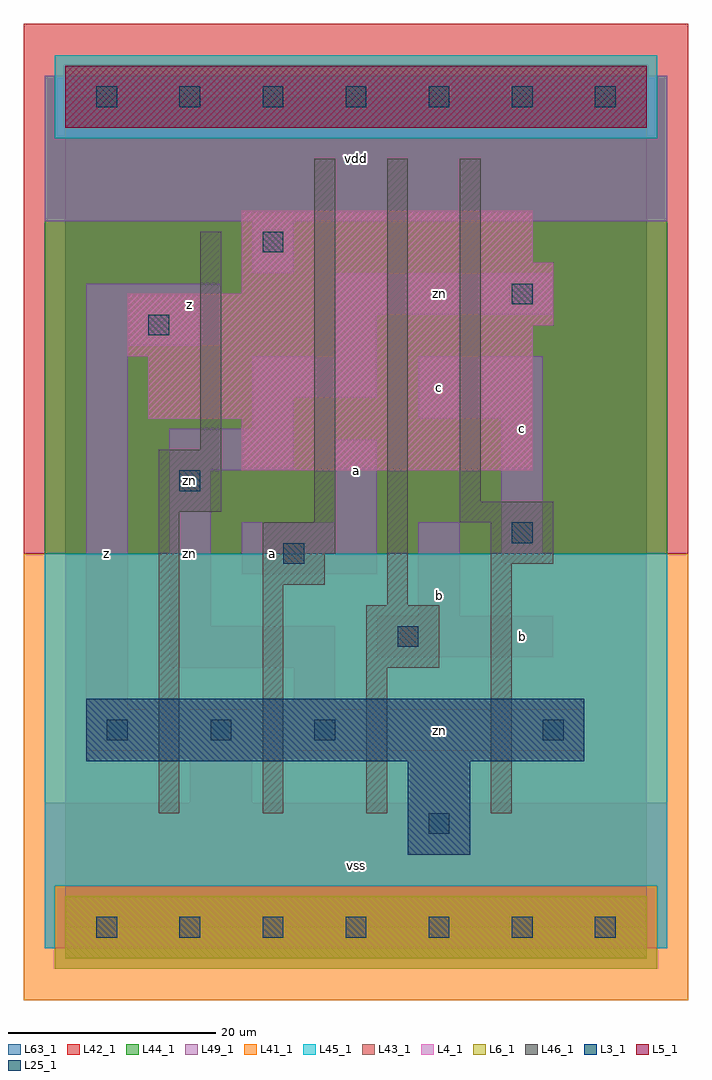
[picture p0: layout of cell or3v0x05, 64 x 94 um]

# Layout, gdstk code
import gdstk
lib = gdstk.Library(unit=1e-6, precision=1e-09)
def R(c, l, rs):  # rectangles x0, y0, x1, y1
    for r in rs: c.add(gdstk.rectangle(r[:2], r[2:], *l))
def A(c, l, x, y, w, h, nx, ny, dx, dy):  # array of equal rectangles
    R(c, l, [(x+i*dx, y+j*dy, x+i*dx+w, y+j*dy+h) for i in range(nx) for j in range(ny)])
L3_1 = (3, 1)
L4_1 = (4, 1)
L5_1 = (5, 1)
L6_1 = (6, 1)
L25_1 = (25, 1)
L41_1 = (41, 1)
L42_1 = (42, 1)
L43_1 = (43, 1)
L44_1 = (44, 1)
L45_1 = (45, 1)
L46_1 = (46, 1)
L49_1 = (49, 1)
L63_1 = (63, 1)

or3v0x05 = lib.new_cell('or3v0x05')
R(or3v0x05, L3_1, [(33,7,39,16), (2,16,50,22)])
R(or3v0x05, L4_1, [(17,44,45,49), (8,49,45,55), (6,55,45,58), (6,58,47,61), (17,61,47,64), (17,64,45,69)])
R(or3v0x05, L5_1, [(0,77,56,83)])
R(or3v0x05, L6_1, [(0,-3,56,3), (0,-3,56,3)])
A(or3v0x05, L25_1, 3, -1, 2, 2, 7, 2, 8, 80)
A(or3v0x05, L25_1, 4, 18, 2, 2, 3, 1, 10, 0)
R(or3v0x05, L25_1, [(35,9,37,11), (46,18,48,20), (32,27,34,29), (21,35,23,37), (43,37,45,39), (11,42,13,44), (8,57,10,59), (43,60,45,62), (19,65,21,67)])
R(or3v0x05, L41_1, [(-4,-7,60,36)])
R(or3v0x05, L42_1, [(-4,36,60,87)])
R(or3v0x05, L43_1, [(0,-3,56,3), (33,7,39,16), (2,16,50,22), (17,44,45,49), (8,49,45,55), (6,55,45,58), (6,58,47,61), (17,61,47,64), (17,64,45,69), (0,77,56,83)])
R(or3v0x05, L44_1, [(-1,-4,57,4), (-2,36,58,76), (-2,76,-1,82), (57,76,58,82)])
R(or3v0x05, L45_1, [(-2,-2,-1,4), (57,-2,58,4), (-2,4,58,36), (-1,76,57,84)])
R(or3v0x05, L46_1, [(9,11,11,40), (19,11,21,33), (29,11,31,25), (41,11,43,35), (29,25,36,31), (31,31,33,74), (19,33,25,36), (41,35,47,39), (19,36,26,39), (24,39,26,74), (38,39,47,41), (9,40,15,46), (38,41,40,74), (13,46,15,67)])
R(or3v0x05, L49_1, [(-2,-2,58,12), (12,12,18,21), (2,17,8,21), (22,17,50,21), (2,21,6,56), (22,21,26,25), (10,25,26,29), (30,26,47,30), (10,29,14,44), (34,30,38,39), (17,34,30,39), (42,35,46,49), (26,39,30,47), (10,44,22,48), (18,48,22,51), (34,49,46,55), (18,51,30,55), (26,55,30,59), (2,56,15,62), (26,59,47,63), (18,63,22,68), (-2,68,58,82)])
R(or3v0x05, L63_1, [(0,0,56,80)])
or3v0x05.add(gdstk.Label('zn', (12,43), layer=49, texttype=1))
or3v0x05.add(gdstk.Label('z', (4,36), layer=49, texttype=1))
or3v0x05.add(gdstk.Label('a', (20,36), layer=49, texttype=1))
or3v0x05.add(gdstk.Label('zn', (12,36), layer=49, texttype=1))
or3v0x05.add(gdstk.Label('z', (12,60), layer=49, texttype=1))
or3v0x05.add(gdstk.Label('vss', (28,6), layer=49, texttype=1))
or3v0x05.add(gdstk.Label('b', (36,32), layer=49, texttype=1))
or3v0x05.add(gdstk.Label('a', (28,44), layer=49, texttype=1))
or3v0x05.add(gdstk.Label('c', (36,52), layer=49, texttype=1))
or3v0x05.add(gdstk.Label('vdd', (28,74), layer=49, texttype=1))
or3v0x05.add(gdstk.Label('zn', (36,19), layer=49, texttype=1))
or3v0x05.add(gdstk.Label('b', (44,28), layer=49, texttype=1))
or3v0x05.add(gdstk.Label('c', (44,48), layer=49, texttype=1))
or3v0x05.add(gdstk.Label('zn', (36,61), layer=49, texttype=1))

lib.write_gds('or3v0x05.gds')
